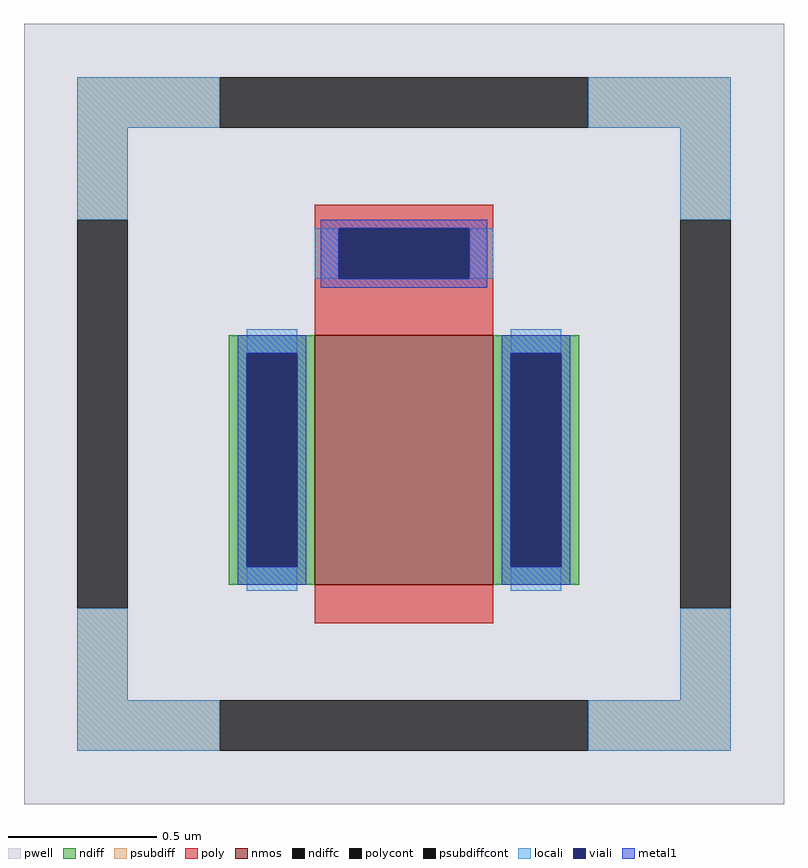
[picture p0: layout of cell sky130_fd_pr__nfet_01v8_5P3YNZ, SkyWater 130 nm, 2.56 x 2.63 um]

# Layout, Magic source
magic
tech sky130A
magscale 1 2
<< pwell >>
rect -256 -263 256 263
<< nmos >>
rect -60 -115 60 53
<< ndiff >>
rect -118 41 -60 53
rect -118 -103 -106 41
rect -72 -103 -60 41
rect -118 -115 -60 -103
rect 60 41 118 53
rect 60 -103 72 41
rect 106 -103 118 41
rect 60 -115 118 -103
<< ndiffc >>
rect -106 -103 -72 41
rect 72 -103 106 41
<< psubdiff >>
rect -220 193 -124 227
rect 124 193 220 227
rect -220 131 -186 193
rect 186 131 220 193
rect -220 -193 -186 -131
rect 186 -193 220 -131
rect -220 -227 -124 -193
rect 124 -227 220 -193
<< psubdiffcont >>
rect -124 193 124 227
rect -220 -131 -186 131
rect 186 -131 220 131
rect -124 -227 124 -193
<< poly >>
rect -60 125 60 141
rect -60 91 -44 125
rect 44 91 60 125
rect -60 53 60 91
rect -60 -141 60 -115
<< polycont >>
rect -44 91 44 125
<< locali >>
rect -220 193 -124 227
rect 124 193 220 227
rect -220 131 -186 193
rect 186 131 220 193
rect -60 91 -44 125
rect 44 91 60 125
rect -106 41 -72 57
rect -106 -119 -72 -103
rect 72 41 106 57
rect 72 -119 106 -103
rect -220 -193 -186 -131
rect 186 -193 220 -131
rect -220 -227 -124 -193
rect 124 -227 220 -193
<< viali >>
rect -44 91 44 125
rect -106 -103 -72 41
rect 72 -103 106 41
<< metal1 >>
rect -56 125 56 131
rect -56 91 -44 125
rect 44 91 56 125
rect -56 85 56 91
rect -112 41 -66 53
rect -112 -103 -106 41
rect -72 -103 -66 41
rect -112 -115 -66 -103
rect 66 41 112 53
rect 66 -103 72 41
rect 106 -103 112 41
rect 66 -115 112 -103
<< properties >>
string FIXED_BBOX -203 -210 203 210
string gencell sky130_fd_pr__nfet_01v8
string library sky130
string parameters w 0.84 l 0.6 m 1 nf 1 diffcov 100 polycov 100 guard 1 glc 1 grc 1 gtc 1 gbc 1 tbcov 100 rlcov 100 topc 1 botc 0 poverlap 0 doverlap 1 lmin 0.15 wmin 0.42 compatible {sky130_fd_pr__nfet_01v8 sky130_fd_pr__nfet_01v8_lvt  sky130_fd_bs_flash__special_sonosfet_star  sky130_fd_pr__nfet_g5v0d10v5 sky130_fd_pr__nfet_05v0_nvt  sky130_fd_pr__nfet_03v3_nvt} full_metal 1 viasrc 100 viadrn 100 viagate 100 viagb 0 viagr 0 viagl 0 viagt 0
<< end >>
